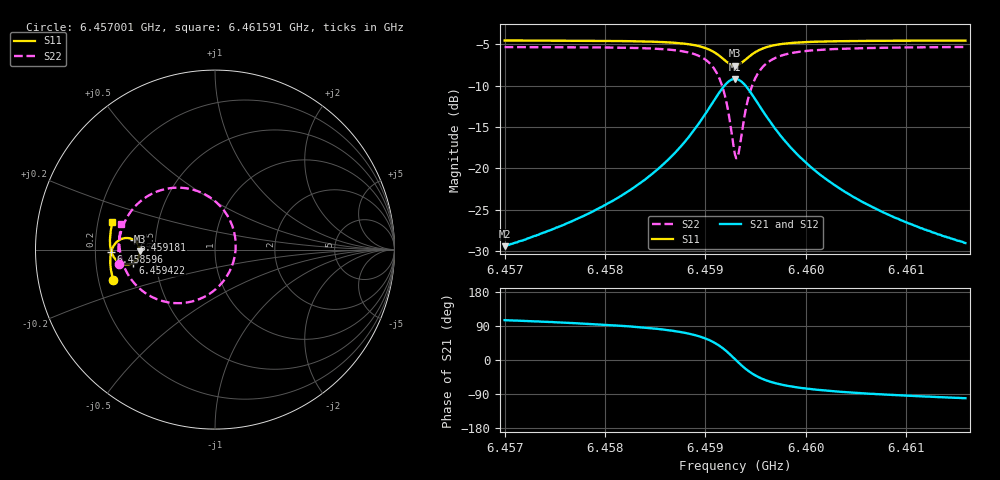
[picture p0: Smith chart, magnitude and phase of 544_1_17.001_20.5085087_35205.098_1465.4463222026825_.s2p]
#  HZ  S  RI  R  50.00
! Rohde & Schwarz Vector Network Analyzer
! Rohde-Schwarz,ZNB20-2Port,1311601062101988,3.16
! Created: UTC 3/20/2024, 11:16:25 PM
! freq[Hz]  re:S11  im:S11  re:S21  im:S21  re:S12  im:S12  re:S22  im:S22
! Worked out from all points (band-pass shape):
!   401 points, 6.457001 GHz to 6.461591 GHz, reference 50 ohm
!   highest |S21| = -9.20 dB at 6.459296 GHz (marker M1); lowest = -29.4 dB at 6.457001 GHz (marker M2)
!   |S21| within 3 dB of the highest: 6.459067 GHz to 6.459526 GHz (458.6 kHz wide, 0.0071 % of centre)
!   lowest |S11| = -7.6 dB at 6.459296 GHz (marker M3), VSWR 2.43, Z = 20.5 - j0.46 ohm
!   |S11| at or under -10 dB: nowhere
!   |S22| runs from -18.8 to -5.3 dB; largest |S21 - S12| = 0.014
!   S11 on the Smith chart (normalised r, x): 6.457001 GHz: 0.26, -0.14; 6.458596 GHz: 0.27, -0.01; 6.459181 GHz: 0.37, +0.05; 6.459422 GHz: 0.37, -0.07; 6.461591 GHz: 0.26, +0.12
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6.457001e9  -0.5671 -0.1703  -0.0088 0.0326  -0.00713 0.0325  -0.5332 -0.0828
6.4577698e9  -0.5809 -0.1031  -0.00539 0.0505  -0.00287 0.0499  -0.5381 0.00752
6.4581829e9  -0.5838 -0.0617  0.000389 0.0694  0.0035 0.068  -0.5302 0.0729
6.4585387e9  -0.58 -0.0194  0.0145 0.0991  0.0185 0.0962  -0.504 0.1527
6.458596e9  -0.578 -0.0115  0.0188 0.1058  0.023 0.1028  -0.4958 0.1693
6.4588026e9  -0.5649 0.0207  0.0466 0.1383  0.0506 0.1334  -0.4438 0.2422
6.4589518e9  -0.5422 0.047  0.092 0.169  0.0952 0.1621  -0.3597 0.3067
6.4590895e9  -0.4983 0.0644  0.1796 0.1852  0.1804 0.1779  -0.1997 0.3451
6.4591813e9  -0.4535 0.0542  0.2697 0.1539  0.2699 0.1479  -0.0327 0.2942
6.4592501e9  -0.4244 0.022  0.3302 0.0816  0.3326 0.0763  0.0832 0.1637
6.459296e9  -0.4175 -0.00923  0.3466 0.0134  0.3503 0.00634  0.1153 0.036
6.4593075e9  -0.4179 -0.0173  0.3464 -0.00462  0.3503 -0.0122  0.1148 0.0021
6.4593304e9  -0.4215 -0.033  0.3408 -0.0394  0.3448 -0.0486  0.1035 -0.0642
6.4593763e9  -0.4372 -0.0591  0.3119 -0.0995  0.3142 -0.1114  0.0451 -0.1778
6.4594222e9  -0.4593 -0.0755  0.2695 -0.1406  0.2687 -0.1541  -0.0407 -0.2529
6.459514e9  -0.5028 -0.0822  0.1843 -0.1716  0.1781 -0.1832  -0.2109 -0.2985
6.4596632e9  -0.5469 -0.0616  0.0962 -0.1575  0.0875 -0.1636  -0.3791 -0.2481
6.4598239e9  -0.5683 -0.0338  0.0512 -0.1293  0.0435 -0.132  -0.4596 -0.1754
6.4600649e9  -0.581 0.00166  0.0222 -0.0976  0.0161 -0.098  -0.5074 -0.0926
6.4604321e9  -0.5856 0.0451  0.00541 -0.0693  0.00151 -0.0688  -0.5293 -0.00879
6.4608337e9  -0.5835 0.0853  -0.00158 -0.0519  -0.00451 -0.0512  -0.5327 0.055
6.4615911e9  -0.5711 0.1525  -0.0066 -0.0346  -0.00829 -0.0337  -0.5212 0.1448
